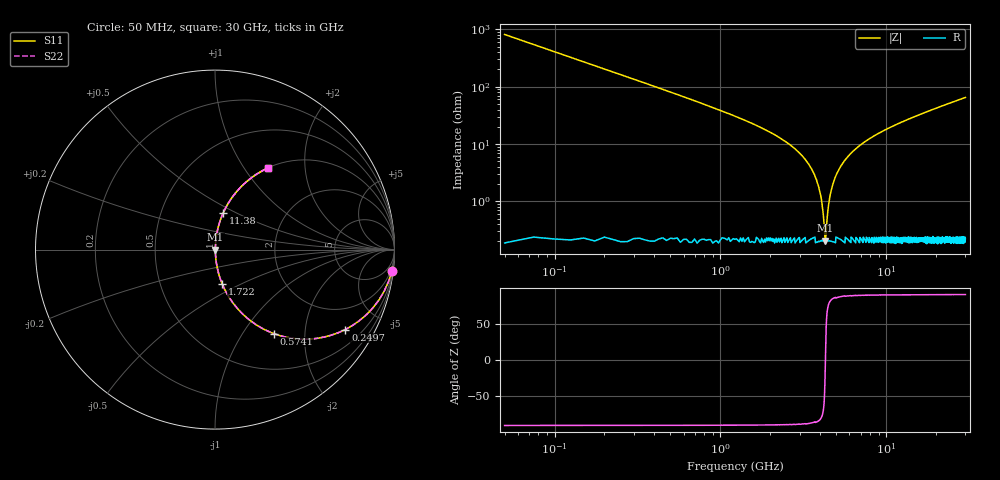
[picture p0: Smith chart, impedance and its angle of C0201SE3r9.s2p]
!	AVX Thin Film Operation 	Date: April 2014
!	Description: Accu-P® Series, Thin Film  SMD RF Capacitor
!	Part Number: 02013J3R9ABSTR
# MHZ S MA R 50
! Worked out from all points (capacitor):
!   1201 points, 50 MHz to 30 GHz, reference 50 ohm
!   read as one part in series: C = 3.9 pF near 199.8 MHz
!   lowest |Z| = 207 mohm at 4.293 GHz (marker M1)
!   series resonance near 4.296 GHz, so ESL is about 350 pH
!   S11 on the Smith chart (normalised r, x): 50 MHz: 1, -16; 249.7 MHz: 1.00, -3.26; 574.1 MHz: 1.00, -1.40; 1.722 GHz: 1.00, -0.40; 11.38 GHz: 1.00, +0.43; 30 GHz: 1.00, +1.30
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50  0.993 -7.0  0.122 83.0  0.122 83.0  0.993 -7.0
249.667  0.852 -31.5  0.523 58.4  0.523 58.4  0.852 -31.5
574.125  0.572 -55.0  0.819 34.9  0.819 34.9  0.572 -55.0
998.417  0.36 -68.6  0.931 21.1  0.931 21.1  0.36 -68.6
1722.208  0.195 -78.2  0.979 11.2  0.979 11.2  0.195 -78.2
2920.208  0.075 -84.1  0.995 4.3  0.995 4.3  0.075 -84.1
3544.167  0.037 -84.6  0.997 2.1  0.997 2.1  0.037 -84.6
3918.542  0.018 -82.1  0.998 1.0  0.998 1.0  0.018 -82.1
4043.333  0.012 -78.9  0.998 0.7  0.998 0.7  0.012 -78.9
4193.083  0.005047 -64.8  0.998 0.3  0.998 0.3  0.005047 -64.8
4292.917  0.002129 -3.1  0.998 0.0  0.998 0.0  0.002129 -3.1
4392.75  0.004746 63.2  0.998 -0.2  0.998 -0.2  0.004746 63.2
4667.292  0.016 81.4  0.998 -0.9  0.998 -0.9  0.016 81.4
5041.667  0.031 84.3  0.997 -1.7  0.997 -1.7  0.031 84.3
5690.583  0.054 84.7  0.996 -3.1  0.996 -3.1  0.054 84.7
6713.875  0.087 83.6  0.994 -5.0  0.994 -5.0  0.087 83.6
10058.29  0.179 79.0  0.982 -10.3  0.982 -10.3  0.179 79.0
11381.08  0.211 77.3  0.976 -12.2  0.976 -12.2  0.211 77.3
15025  0.291 72.7  0.955 -16.9  0.955 -16.9  0.291 72.7
20016.67  0.388 66.9  0.92 -22.9  0.92 -22.9  0.388 66.9
25033.29  0.473 61.6  0.879 -28.2  0.879 -28.2  0.473 61.6
30000  0.544 56.8  0.837 -33.0  0.837 -33.0  0.544 56.8
